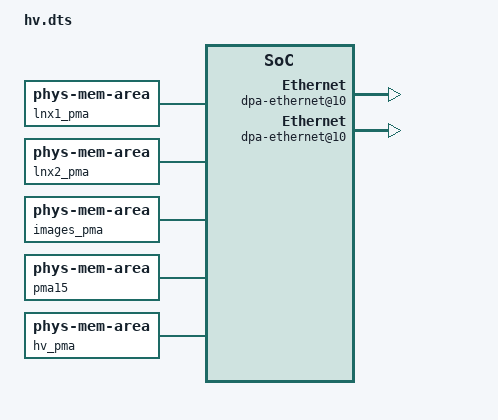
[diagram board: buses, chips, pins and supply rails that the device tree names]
/* Hypervisor Configuration tree containing all hypervisor configuration
 * parameters and partition definition information.
 * (Note -- Please refer to Hypervisor SW Reference Manual
 * (Chapter 5 Configuration) for further details)
 *
 * Copyright 2011 Freescale Semiconductor, Inc.
 */

/dts-v1/;

/ {	// root node

	// The root node of the configuration device tree must contain a
	// compatible property that identifies the device tree as a hypervisor

	compatible = "fsl,hv-config";

	// =====================================================
	// Physical Memory Areas
	// =====================================================
	lnx1_pma: lnx1_pma {
		compatible = "phys-mem-area";
		addr = <0x0 0x00000000>;	// Linux
		size = <0x0 0x40000000>;	// 1GB
	};

	lnx2_pma: lnx2_pma {
		compatible = "phys-mem-area";
		addr = <0x0 0x40000000>;	// Linux
		size = <0x0 0x10000000>;	// 256MB
	};

	images_pma: images_pma {
		compatible = "phys-mem-area";
		addr = <0x0 0x78000000>;	// Used for boot-from-RAM
		size = <0x0 0x04000000>;	// 64MB
	};

	pma15: pma15 {
		compatible = "phys-mem-area";
		addr = <0x0 0x7c000000>;	// For MAC-less Ethernet Linux1 and Linux2
		size = <0x0 0x01000000>;	// 16MB
	};

	hv_pma: hv_pma {
		compatible = "phys-mem-area";
		addr = <0x0 0x7f000000>;	// Hypervisor
		size = <0x0 0x01000000>;	// 16MB
	};

	// =====================================================
	// DMA Windows
	// =====================================================
	dma-windows {
		// DMA window for part1_linux
		dw_linux1: dw_linux1 {
			compatible = "dma-window";
			guest-addr = <0 0>;
			size = <0 0x80000000>; // 2GB
			subwindow-count = <4>;

			sub-window@0 {
				compatible = "dma-subwindow";
				guest-addr = <0 0>;
				size = <0 0x20000000>; // 512MB
			};

			sub-window@1 {
				compatible = "dma-subwindow";
				guest-addr = <0 0x20000000>;
				size = <0 0x20000000>; // 512MB
			};

			sub-window@2 {		// Inter-partition region
				compatible = "dma-subwindow";
				guest-addr = <0 0x40000000>;
				size = <0 0x1000000>; // 16MB
			};

			sub-window@3 {		// MSI sub-window
				compatible = "dma-subwindow";
				guest-addr = <0 0x60000000>;
				size = <0 0x1000>; // 4KB
				pcie-msi-subwindow;
			};
		};

		// DMA window for part2_linux
		dw_linux2: dw_linux2 {
			compatible = "dma-window";
			guest-addr = <0 0>;
			size = <0 0x80000000>; // 2GB
			subwindow-count = <4>;

			sub-window@0 {
				compatible = "dma-subwindow";
				guest-addr = <0 0>;
				size = <0 0x10000000>; // 256MB
			};

			sub-window@1 {		// Inter-partition region
				compatible = "dma-subwindow";
				guest-addr = <0 0x40000000>;
				size = <0 0x1000000>; // 16MB
			};

			sub-window@2 {		// MSI sub-window
				compatible = "dma-subwindow";
				guest-addr = <0 0x60000000>;
				size = <0 0x1000000>; // 64MB
				pcie-msi-subwindow;
			};
		};

		// DMA window for stash_dqrr for qman-portal0
		dw_dqrr_qportal0: window3 {
			compatible = "dma-window";
			guest-addr = <0xf 0xf4200000>;
			size = <0 0x4000>;
		};

		// DMA window for stash_dqrr for qman-portal1
		dw_dqrr_qportal1: window4 {
			compatible = "dma-window";
			guest-addr = <0xf 0xf4204000>;
			size = <0 0x4000>;
		};

		// DMA window for stash_dqrr for qman-portal4
		dw_dqrr_qportal4: window7 {
			compatible = "dma-window";
			guest-addr = <0xf 0xf4210000>;
			size = <0 0x4000>;
		};

		// DMA window for stash_dqrr for qman-portal5
		dw_dqrr_qportal5: window8 {
			compatible = "dma-window";
			guest-addr = <0xf 0xf4214000>;
			size = <0 0x4000>;
		};

		// DMA window for stash_dqrr for qman-portal6
		dw_dqrr_qportal6: window9 {
			compatible = "dma-window";
			guest-addr = <0xf 0xf4218000>;
			size = <0 0x4000>;
		};

		// DMA window for stash_dqrr for qman-portal7
		dw_dqrr_qportal7: window10 {
			compatible = "dma-window";
			guest-addr = <0xf 0xf421c000>;
			size = <0 0x4000>;
		};

		// DMA window for stash_dqrr for qman-portal8
		dw_dqrr_qportal8: window11 {
			compatible = "dma-window";
			guest-addr = <0xf 0xf4220000>;
			size = <0 0x4000>;
		};

		// DMA window for stash_dqrr for qman-portal9
		dw_dqrr_qportal9: window12 {
			compatible = "dma-window";
			guest-addr = <0xf 0xf4224000>;
			size = <0 0x4000>;
		};
	};

	// =====================================================
	// Hypervisor Config
	// Hypervisor is also configured via the Hypervisor
	// configuration tree. A special node and subtree defines
	// set of global configuration parameters and a number of
	// device nodes assigning I/O devices to the hypervisor
	// =====================================================
	hv: hypervisor-config {
		compatible = "hv-config";

		// phandle to byte-channel used for hypervisor's console
		stdout = <&hvbc>;

		hv-memory {
			compatible = "hv-memory";
			phys-mem = <&hv_pma>;
		};

		hvbc: byte-channel {
			compatible = "byte-channel";
			endpoint = <&uartmux>;
			mux-channel = <0>;
		};

		// Device nodes given below are the physical I/O
		// devices assigned to hypervisor
		corenet-law {
			device = "/soc/corenet-law";
		};

		cpc {
			device = "/soc/l3-cache-controller";
		};

		corenet-cf {
			device = "/soc/corenet-cf";
		};

		guts {
			device = "/soc/global-utilities@e0000";
		};

		rcpm {
			device = "/soc/global-utilities@e2000";
		};

		iommu {
			device = "/soc/iommu";
		};

		mpic {
			device = "/soc/pic@40000";
		};

		serial0: serial0 {
			device = "serial0";
		};

		serial1: serial1 {
			device = "serial1";
		};
	};

	// =====================================================
	// UART mux
	// This node is referenced by byte-channels that use mux
	// as an endpoint
	// =====================================================
	uartmux: uartmux {
		compatible = "byte-channel-mux";
		endpoint = <&serial0>;
	};

	// =====================================================
	// To keep the scenarios hv-1/2/4p as diff-able as possible
	// we always use labels part1, part2, part<n>
	// In hv-2p scenario, there are 2 partitions - 2 Linux
	// Partition1 --- part1 --- Linux partition
	// Partition2 --- part2 --- Linux partition
	// =====================================================

	// =====================================================
	// Partition 1
	// =====================================================
	part1 {
		// Indicates that it is a partition node
		compatible = "partition";
		label = "p1-linux";

		// CPUs #0, #1, #4, #5, #6 are assigned to this partition
		cpus = <0 2 4 3>;
		guest-image = <0xf 0xe8020000 0 0 0 0x700000>;
		linux-rootfs = <0xf 0xe9300000 0 0x01300000 0 0x02800000>;
		dtb-window = <0 0x1000000 0 0x12000>;

		// Temporary until Linux uses enable LIODN hcall
		no-dma-disable;

		gpma0 {
			compatible = "guest-phys-mem-area";
			phys-mem = <&lnx1_pma>;
			guest-addr = <0 0>;
		};

		gpma1 {
			compatible = "guest-phys-mem-area";
			phys-mem = <&pma15>;	// Interpartition between Linux1 - Linux2
			guest-addr = <0 0x40000000>;
			node-update {
				delete-prop = "device_type";
			};
		};

		aliases {
			stdout = <&part1_bc0>;
		};

		// =====================================================
		// Devices assigned to the partition - device nodes
		// device node is child of partition node and is used to
		// assign physical I/O devices to partition
		// =====================================================
		part1_bc0: byte-channel@1 {
			compatible = "byte-channel";
			endpoint = <&uartmux>;
			mux-channel = <1>;
		};

		// Bman portals assigned to this partition
		bman-portal@0 {
			device = "/bman-portals/bman-portal@0";
			vcpu = <0>;
		};

		bman-portal@4000 {
			device = "/bman-portals/bman-portal@4000";
			vcpu = <1>;
		};

		bman-portal@10000 {
			device = "/bman-portals/bman-portal@10000";
			vcpu = <2>;
		};

		bman-portal@14000 {
			device = "/bman-portals/bman-portal@14000";
			vcpu = <3>;
		};

		bman-portal@18000 {
			device = "/bman-portals/bman-portal@18000";
			vcpu = <4>;
		};

		bman-portal@1c000 {
			device = "/bman-portals/bman-portal@1c000";
			vcpu = <0>;
		};

		bman-portal@24000 {
			device = "/bman-portals/bman-portal@24000";
			vcpu = <1>;
		};

		// Bman buffer pools assigned to this partition
		buffer-pool@0 {
			device = "/bman-portals/buffer-pool@0";
		};

		buffer-pool@7 {
			device = "/bman-portals/buffer-pool@7";
		};

		buffer-pool@8 {
			device = "/bman-portals/buffer-pool@8";
		};

		buffer-pool@9 {
			device = "/bman-portals/buffer-pool@9";
		};

		part1_qpool1: qman-pool@1 {
			device = "/qman-portals/qman-pool@1";
		};

		qman-portal@0 {
			device = "/qman-portals/qman-portal@0";
			vcpu = <0>;

			stash-mem {
				liodn-index = <1>;
				dma-window = <&dw_linux1>;
				operation-mapping = <0>;
				stash-dest = <1>;
			};

			stash-dqrr {
				liodn-index = <0>;
				dma-window = <&dw_dqrr_qportal0>;
				operation-mapping = <0>;
				stash-dest = <1>;
				snoop-cpu-only;
			};

			node-update-phandle {
				fsl,qman-pool-channels = <&part1_qpool1 &part1_qpool2 &part1_qpool3>;
			};
		};

		qman-portal@4000 {
			device = "/qman-portals/qman-portal@4000";
			vcpu = <1>;

			stash-mem {
				liodn-index = <1>;
				dma-window = <&dw_linux1>;
				operation-mapping = <0>;
				stash-dest = <1>;
			};

			stash-dqrr {
				liodn-index = <0>;
				dma-window = <&dw_dqrr_qportal1>;
				operation-mapping = <0>;
				stash-dest = <1>;
				snoop-cpu-only;
			};

			node-update-phandle {
				fsl,qman-pool-channels = <&part1_qpool4 &part1_qpool5 &part1_qpool6 &part1_qpool7>;
			};
		};

		qman-portal@10000 {
			device = "/qman-portals/qman-portal@10000";
			vcpu = <2>;

			stash-mem {
				liodn-index = <1>;
				dma-window = <&dw_linux1>;
				operation-mapping = <0>;
				stash-dest = <1>;
			};

			stash-dqrr {
				liodn-index = <0>;
				dma-window = <&dw_dqrr_qportal4>;
				operation-mapping = <0>;
				stash-dest = <1>;
				snoop-cpu-only;
			};

			node-update-phandle {
				fsl,qman-pool-channels = <&part1_qpool4 &part1_qpool5 &part1_qpool6 &part1_qpool7>;
			};
		};

		qman-portal@14000 {
			device = "/qman-portals/qman-portal@14000";
			vcpu = <3>;

			stash-mem {
				liodn-index = <1>;
				dma-window = <&dw_linux1>;
				operation-mapping = <0>;
				stash-dest = <1>;
			};

			stash-dqrr {
				liodn-index = <0>;
				dma-window = <&dw_dqrr_qportal5>;
				operation-mapping = <0>;
				stash-dest = <1>;
				snoop-cpu-only;
			};

			node-update-phandle {
				fsl,qman-pool-channels = <&part1_qpool4 &part1_qpool5 &part1_qpool6 &part1_qpool7>;
			};
		};

		qman-portal@18000 {
			device = "/qman-portals/qman-portal@18000";
			vcpu = <4>;

			stash-mem {
				liodn-index = <1>;
				dma-window = <&dw_linux1>;
				operation-mapping = <0>;
				stash-dest = <1>;
			};

			stash-dqrr {
				liodn-index = <0>;
				dma-window = <&dw_dqrr_qportal6>;
				operation-mapping = <0>;
				stash-dest = <1>;
				snoop-cpu-only;
			};

			node-update-phandle {
				fsl,qman-pool-channels = <&part1_qpool4 &part1_qpool5 &part1_qpool6 &part1_qpool7>;
			};
		};

		qman-portal@1c000 {
			device = "/qman-portals/qman-portal@1c000";
			vcpu = <0>;

			stash-mem {
				liodn-index = <1>;
				dma-window = <&dw_linux1>;
				operation-mapping = <0>;
				stash-dest = <1>;
			};

			stash-dqrr {
				liodn-index = <0>;
				dma-window = <&dw_dqrr_qportal7>;
				operation-mapping = <0>;
				stash-dest = <1>;
				snoop-cpu-only;
			};

			node-update-phandle {
				fsl,qman-pool-channels = <&part1_qpool4 &part1_qpool5 &part1_qpool6 &part1_qpool7>;
			};
		};

		qman-portal@24000 {
			device = "/qman-portals/qman-portal@24000";
			vcpu = <1>;

			stash-mem {
				liodn-index = <1>;
				dma-window = <&dw_linux1>;
				operation-mapping = <0>;
				stash-dest = <1>;
			};

			stash-dqrr {
				liodn-index = <0>;
				dma-window = <&dw_dqrr_qportal9>;
				operation-mapping = <0>;
				stash-dest = <1>;
				snoop-cpu-only;
			};

			node-update-phandle {
				fsl,qman-pool-channels = <&part1_qpool1 &part1_qpool2 &part1_qpool3>;
			};
		};

		part1_qpool2: qman-pool@2 {
			device = "/qman-portals/qman-pool@2";
		};

		part1_qpool3: qman-pool@3 {
			device = "/qman-portals/qman-pool@3";
		};

		part1_qpool4: qman-pool@4 {
			device = "/qman-portals/qman-pool@4";
		};

		part1_qpool5: qman-pool@5 {
			device = "/qman-portals/qman-pool@5";
		};

		part1_qpool6: qman-pool@6 {
			device = "/qman-portals/qman-pool@6";
		};

		part1_qpool7: qman-pool@7 {
			device = "/qman-portals/qman-pool@7";
		};

		memory-controller@8000 {
			device = "/soc/memory-controller@8000";
		};

		msi0 {
			device = "msi0";
		};

		dma0 {
			device = "dma0";
			dma-window = <&dw_linux1>;
		};

		i2c@118000 {
			device = "/soc/i2c@118000";
		};

		i2c@118100 {
			device = "/soc/i2c@118100";
		};

		serial2 {
			device = "serial2";
		};

		serial3 {
			device = "serial3";
		};

		flash {
			device = "/localbus";
		};

		gpio {
			device = "/soc/gpio";
		};

		pci0 {
			device = "pci0";
			map-ranges;
			dma-window = <&dw_linux1>;
		};

		usb0 {
			device = "usb0";
			dma-window = <&dw_linux1>;
		};

		crypto {
			device = "/soc/crypto";
			dma-window = <&dw_linux1>;
		};

		pme {
			device = "pme";
			dma-window = <&dw_linux1>;
		};

		qman {
			device = "qman";
			dma-window = <&dw_linux1>;
			operation-mapping = <2>;	// OMI_QMAN_PRIV
			stash-dest = <3>;		// L3/CPC
		};

		bman {
			device = "bman";
			dma-window = <&dw_linux1>;
		};

		fman0 {
			device = "fman0";
			dma-window = <&dw_linux1>;
		};

		fman1 {
			device = "fman1";
			dma-window = <&dw_linux1>;
		};

		// FMAN0 eth0 -- ethernet 0 assigned to this partition
		dpa-ethernet@0 {
			device = "/fsl,dpaa/ethernet@0";
		};

		// FMAN0 eth1 -- ethernet 1 assigned to this partition
		dpa-ethernet@1 {
			device = "/fsl,dpaa/ethernet@1";
		};

		// FMAN0 eth2 -- ethernet 2 assigned to this partition
		dpa-ethernet@2 {
			device = "/fsl,dpaa/ethernet@2";
		};

		// FMAN0 eth3 -- ethernet 3 assigned to this partition
		dpa-ethernet@3 {
			device = "/fsl,dpaa/ethernet@3";
		};

		// FMAN1 eth5 -- ethernet 5 assigned to this partition
		dpa-ethernet@5 {
			device = "/fsl,dpaa/ethernet@5";
		};

		// FMAN1 eth6 -- ethernet 6 assigned to this partition
		dpa-ethernet@6 {
			device = "/fsl,dpaa/ethernet@6";
		};

		// FMAN1 eth7 -- ethernet 7 assigned to this partition
		dpa-ethernet@7 {
			device = "/fsl,dpaa/ethernet@7";
		};

		// FMAN1 eth8 -- ethernet 8 assigned to this partition
		dpa-ethernet@8 {
			device = "/fsl,dpaa/ethernet@8";
		};

		portal-devices {
			fman0 {
				device = "fman0";
				dma-window = <&dw_linux1>;
			};

			fman1 {
				device = "fman1";
				dma-window = <&dw_linux1>;
			};

			caam {
				device = "crypto";
				dma-window = <&dw_linux1>;
			};

			pme {
				device = "pme";
				dma-window = <&dw_linux1>;
			};
		};

		node-update {
			part1_bp10: buffer-pool@10 {
				compatible = "fsl,p3060-bpool", "fsl,bpool";
				fsl,bpid = <10>;
				fsl,bpool-ethernet-cfg = <0 0x80 0 192 0 0x40000000>;
				fsl,bpool-ethernet-seeds;
			};

			part1_bp11: buffer-pool@11 {
				compatible = "fsl,p3060-bpool", "fsl,bpool";
				fsl,bpid = <11>;
				fsl,bpool-ethernet-cfg = <0 0x80 0 576 0 0x40006000>;
				fsl,bpool-ethernet-seeds;
			};

			part1_bp12: buffer-pool@12 {
				compatible = "fsl,p3060-bpool", "fsl,bpool";
				fsl,bpid = <12>;
				fsl,bpool-ethernet-cfg = <0 0x80 0 1600 0 0x40018000>;
				fsl,bpool-ethernet-seeds;
			};

			// Add a subnode dpa-ethernet@10 in fsl,dpaa node in GDT
			fsl,dpaa {
				dpa-ethernet@10 {	// Link with Linux2
					compatible = "fsl,p3060-dpa-ethernet", "fsl,dpa-ethernet";
					fsl,qman-frame-queues-rx = <0x4000 8>;
					fsl,qman-frame-queues-tx = <0x4008 8>;
					local-mac-address = [30 60 c0 a8 6f fe];
				};
			};
		};

		// Add properties with phandle values to the node dpa-ethernet@10
		node-update-phandle {
			fsl,dpaa {
				dpa-ethernet@10 {
					fsl,qman-channel = <&part1_qpool2>;
					fsl,bman-buffer-pools = <&part1_bp10 &part1_bp11 &part1_bp12>;
				};
			};
		};

		dpa-fman0-oh@1 {
			device = "/fsl,dpaa/dpa-fman0-oh@1";
		};
	};

	// =====================================================
	// Partition 2
	// =====================================================
	part2 {
		compatible = "partition";
		label = "p2-linux";
		// CPU #7 is assigned to this partition
		cpus = <7 1>;
		guest-image = <0xf 0xe8020000 0 0 0 0x700000>;
		linux-rootfs = <0xf 0xe9300000 0 0x01300000 0 0x02800000>;
		dtb-window = <0 0x1000000 0 0x12000>;

		// Temporary until Linux uses enable LIODN hcall
		no-dma-disable;

		gpma0 {
			compatible = "guest-phys-mem-area";
			phys-mem = <&lnx2_pma>;
			guest-addr = <0 0>;
		};

		gpma1 {
			compatible = "guest-phys-mem-area";
			phys-mem = <&pma15>;	// Interpartition between Linux1 - Linux2
			guest-addr = <0 0x40000000>;
			node-update {
				delete-prop = "device_type";
			};
		};

		aliases {
			stdout = <&part2_bc0>;
		};

		// =====================================================
		// Devices assigned to the partition - device nodes
		// device node is child of partition node and is used to
		// assign physical I/O devices to partition
		// =====================================================
		part2_bc0: byte-channel@2 {
			compatible = "byte-channel";
			endpoint = <&uartmux>;
			mux-channel = <2>;
		};

		bman-portal@20000 {
			device = "/bman-portals/bman-portal@20000";
			vcpu = <0>;
			node-update {
				delete-prop = "fsl,usdpaa-portal";
			};

		};

		part2_qportal8: qman-portal@20000 {
			device = "/qman-portals/qman-portal@20000";
			vcpu = <0>;

			node-update {
				delete-prop = "fsl,usdpaa-portal";
				delete-node = "rman@0", "fman@0", "fman@1", "pme@0", "crypto@0";
			};

			stash-mem {
				liodn-index = <1>;
				dma-window = <&dw_linux2>;
				operation-mapping = <0>;
				stash-dest = <1>;
			};

			stash-dqrr {
				liodn-index = <0>;
				dma-window = <&dw_dqrr_qportal8>;
				operation-mapping = <0>;
				stash-dest = <1>;
				snoop-cpu-only;
			};

			node-update-phandle {
				fsl,qman-pool-channels = <&part2_qpool8 &part2_qpool9 &part2_qpool10 &part2_qpool11>;
			};
		};

		part2_qpool8: qman-pool@8 {
			device = "/qman-portals/qman-pool@8";
		};

		part2_qpool9: qman-pool@9 {
			device = "/qman-portals/qman-pool@9";
		};

		part2_qpool10: qman-pool@10 {
			device = "/qman-portals/qman-pool@10";
		};

		part2_qpool11: qman-pool@11 {
			device = "/qman-portals/qman-pool@11";
		};

		dma1 {
			device = "dma1";
			dma-window = <&dw_linux2>;
		};

		i2c@119000 {
			device = "/soc/i2c@119000";
		};

		i2c@119100 {
			device = "/soc/i2c@119100";
		};

		node-update {
			// =====================================================
			// Even though it's part1 that seeds these buffer pools,
			// their "fsl,bpool-ethernet-cfg" properties must match
			// those in part1 exactly, since the resulting buffer
			// addresses will be exchanged between the partitions
			// through QMan, via FDs, without further translation.
			// Furthermore, the addresses must be mapable in both
			// guests, and, when mapped on either guest,
			// each should point to the same physical memory,
			// otherwise a segfault/machine check will occur.
			// =====================================================
			part2_bp10: buffer-pool@10 {
				compatible = "fsl,p3060-bpool", "fsl,bpool";
				fsl,bpid = <10>;
				fsl,bpool-ethernet-cfg = <0 0x80 0 192 0 0x40000000>;
			};

			part2_bp11: buffer-pool@11 {
				compatible = "fsl,p3060-bpool", "fsl,bpool";
				fsl,bpid = <11>;
				fsl,bpool-ethernet-cfg = <0 0x80 0 576 0 0x40006000>;
			};

			part2_bp12: buffer-pool@12 {
				compatible = "fsl,p3060-bpool", "fsl,bpool";
				fsl,bpid = <12>;
				fsl,bpool-ethernet-cfg = <0 0x80 0 1600 0 0x40018000>;
			};

			fsl,dpaa {
				compatible = "fsl,p3060-dpaa", "fsl,dpaa";
				dpa-ethernet@10 {	// Link with Linux1
					compatible = "fsl,p3060-dpa-ethernet", "fsl,dpa-ethernet";
					fsl,qman-frame-queues-rx = <0x4008 8>;
					fsl,qman-frame-queues-tx = <0x4000 8>;
					local-mac-address = [30 60 c0 a8 79 fe];
				};
			};
		};

		node-update-phandle {
			fsl,dpaa {
				dpa-ethernet@10 {
					fsl,qman-channel = <&part2_qpool8>;
					fsl,bman-buffer-pools = <&part2_bp10 &part2_bp11 &part2_bp12>;
				};
			};
		};
	};
};
